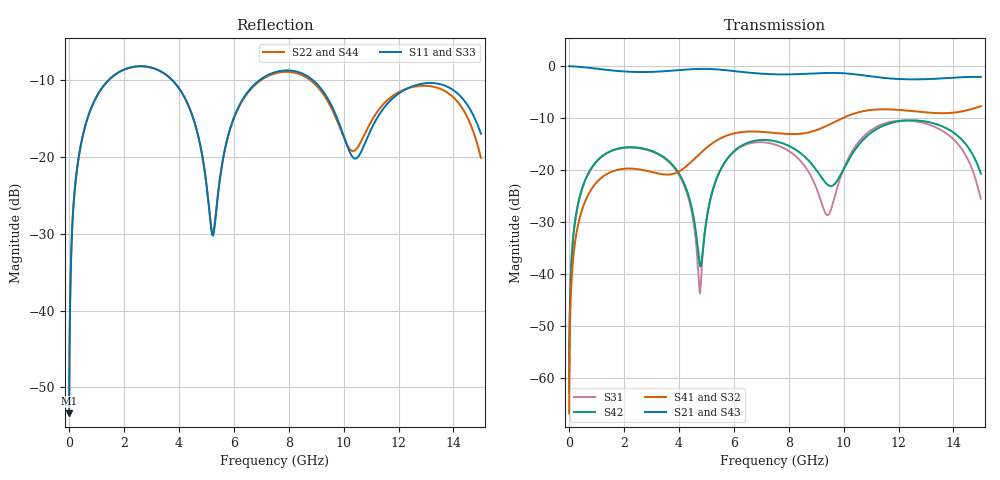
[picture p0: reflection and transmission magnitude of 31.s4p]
! Created with skrf 1.8.0 (http://scikit-rf.org).
# GHz S RI R 50.0
!freq ReS11 ImS11 ReS12 ImS12 ReS13 ImS13
! ReS14 ImS14
! ReS21 ImS21 ReS22 ImS22 ReS23 ImS23
! ReS24 ImS24
! ReS31 ImS31 ReS32 ImS32 ReS33 ImS33
! ReS34 ImS34
! ReS41 ImS41 ReS42 ImS42 ReS43 ImS43
! ReS44 ImS44
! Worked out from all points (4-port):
!   2499 points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, 5 MHz to 15 GHz, reference 50 ohm
!   strongest paths, dB at 5 MHz, 3.476 GHz, 7.19 GHz, 11.1 GHz, 15 GHz:
!     S21: 0.0, -1.0, -1.5, -2.0, -2.1
!     S43: 0.0, -1.0, -1.5, -2.0, -2.1
!     S41: -66.8, -20.9, -12.7, -8.4, -7.7
!     S32: -66.8, -20.9, -12.8, -8.4, -7.7
!     S42: -62.7, -17.6, -14.2, -12.5, -20.7
!     S31: -62.7, -17.8, -14.7, -12.0, -25.5
!   lowest |S11| = -53.4 dB at 5 MHz (marker M1), VSWR 1.00, Z = 50.2 + j0.13 ohm
!   |S11| at or under -10 dB: start of sweep to 1.444 GHz; 3.761 GHz to 6.94 GHz (3.179 GHz wide, 59.4 % of centre); 8.88 GHz to end of sweep
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0.005  0.00171 0.00129  0.9983 -0.00333  8.78e-05 0.000724  -8.5e-05 -0.000447
       0.9983 -0.00333  0.00171 0.00129  -8.5e-05 -0.000447  8.78e-05 0.000724
       8.78e-05 0.000724  -8.5e-05 -0.000447  0.00171 0.00129  0.9983 -0.00333
       -8.5e-05 -0.000447  8.78e-05 0.000724  0.9983 -0.00333  0.00171 0.00129
0.3126303  0.0259 0.0848  0.9645 -0.207  0.0125 0.0428  -0.0104 -0.026
           0.9645 -0.207  0.0259 0.0848  -0.0104 -0.026  0.0127 0.0427
           0.0125 0.0428  -0.0104 -0.026  0.0259 0.0848  0.9645 -0.207
           -0.0104 -0.026  0.0127 0.0427  0.9645 -0.207  0.0259 0.0848
1.569404  0.2855 0.1684  0.5122 -0.7492  0.1401 0.0621  -0.0966 0.000511
          0.5122 -0.7492  0.2848 0.1689  -0.0965 0.00034  0.1425 0.0586
          0.1401 0.0621  -0.0965 0.00034  0.2857 0.1684  0.5122 -0.7492
          -0.0966 0.000511  0.1425 0.0586  0.5122 -0.7492  0.2848 0.169
4.764485  0.0596 -0.1081  -0.8745 -0.3418  -0.00628 -0.00159  -0.0469 0.1357
          -0.8745 -0.3418  0.0608 -0.1066  -0.0492 0.1348  -0.0112 -0.00471
          -0.00628 -0.00159  -0.0492 0.1348  0.0588 -0.1097  -0.8743 -0.3418
          -0.0469 0.1357  -0.0112 -0.00471  -0.8743 -0.3418  0.0626 -0.1072
8.103376  0.3627 -0.035  -0.00969 0.8329  0.1303 -0.0663  0.2135 -0.0593
          -0.00969 0.8329  0.3552 -0.0251  0.2137 -0.0539  0.1317 -0.1007
          0.1303 -0.0663  0.2137 -0.0539  0.3651 -0.0344  -0.00844 0.8322
          0.2135 -0.0593  0.1317 -0.1007  -0.00844 0.8322  0.356 -0.0268
10.79825  0.1194 0.0363  0.8088 -0.028  0.0558 0.2119  -0.043 -0.3693
          0.8088 -0.028  0.137 0.0451  -0.0332 -0.3696  0.0402 0.2018
          0.0558 0.2119  -0.0332 -0.3696  0.1211 0.0348  0.8088 -0.0298
          -0.043 -0.3693  0.0402 0.2018  0.8088 -0.0298  0.1357 0.0386
15  0.099 -0.1015  -0.5754 -0.5363  0.0485 -0.0213  -0.2537 0.3238
    -0.5754 -0.5363  0.0803 -0.0575  -0.2692 0.3095  -0.0147 -0.0911
    0.0485 -0.0213  -0.2692 0.3095  0.0988 -0.1101  -0.5791 -0.5309
    -0.2537 0.3238  -0.0147 -0.0911  -0.5791 -0.5309  0.0875 -0.0564
